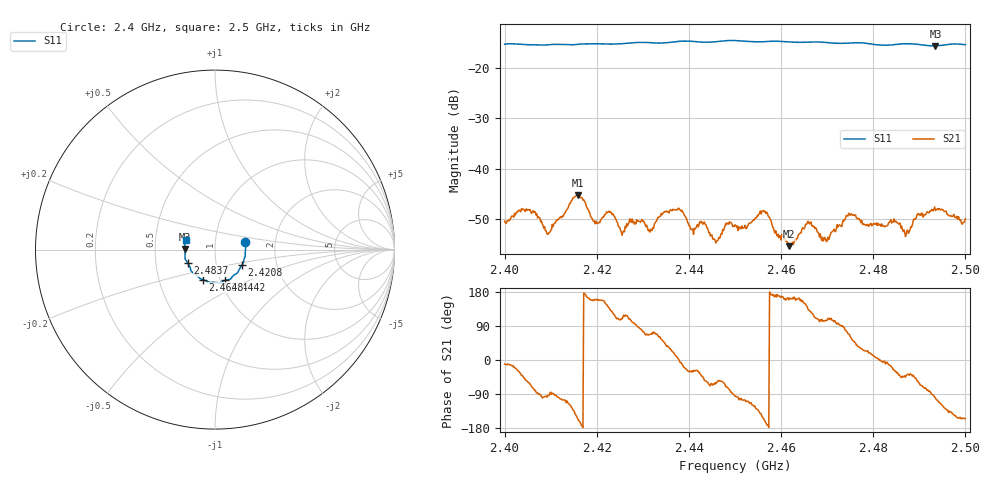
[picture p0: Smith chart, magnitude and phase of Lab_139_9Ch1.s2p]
# Hz S RI R
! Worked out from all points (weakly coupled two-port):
!   601 points, 2.4 GHz to 2.5 GHz, reference 50 ohm
!   highest |S21| = -45.27 dB at 2.416 GHz (marker M1); lowest = -55.4 dB at 2.4617 GHz (marker M2)
!   lowest |S11| = -15.6 dB at 2.4935 GHz (marker M3), VSWR 1.40, Z = 35.8 + j0.219 ohm
!   |S11| at or under -10 dB: start of sweep to end of sweep
!   S12 and S22 are empty: the file has one direction only
!   S11 on the Smith chart (normalised r, x): 2.4 GHz: 1.40, +0.12; 2.4208 GHz: 1.33, -0.24; 2.4442 GHz: 1.05, -0.37; 2.4648 GHz: 0.83, -0.29; 2.4837 GHz: 0.73, -0.11; 2.5 GHz: 0.72, +0.08
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2.4e9  0.1675 0.041  0.00296 -0.000558  0 0  0 0
2.405167e9  0.1704 0.00756  0.00196 -0.0034  0 0  0 0
2.409667e9  0.1688 -0.0258  -0.000144 -0.00232  0 0  0 0
2.416e9  0.16 -0.0634  -0.00503 -0.00211  0 0  0 0
2.416667e9  0.1591 -0.0681  -0.00509 -0.000678  0 0  0 0
2.420833e9  0.1503 -0.0871  -0.00284 0.00115  0 0  0 0
2.4255e9  0.1346 -0.1113  -0.000693 0.00206  0 0  0 0
2.433333e9  0.108 -0.1402  0.00148 0.00293  0 0  0 0
2.438e9  0.0881 -0.1621  0.00389 -0.000296  0 0  0 0
2.444167e9  0.0566 -0.1713  0.00123 -0.00214  0 0  0 0
2.45e9  0.0246 -0.186  -0.000286 -0.00275  0 0  0 0
2.4565e9  -0.0168 -0.1822  -0.00357 -0.00118  0 0  0 0
2.461667e9  -0.0449 -0.1761  -0.00158 0.000615  0 0  0 0
2.464833e9  -0.0684 -0.1668  -0.00226 0.0012  0 0  0 0
2.466667e9  -0.08 -0.1627  -0.00149 0.00225  0 0  0 0
2.469667e9  -0.0918 -0.1545  -0.000504 0.00192  0 0  0 0
2.474667e9  -0.12 -0.1303  0.00131 0.00336  0 0  0 0
2.483333e9  -0.1507 -0.0762  0.00283 -0.000628  0 0  0 0
2.483667e9  -0.1524 -0.0733  0.00293 -0.000764  0 0  0 0
2.487333e9  -0.1669 -0.051  0.00189 -0.00154  0 0  0 0
2.4935e9  -0.1661 0.00297  -0.000673 -0.00377  0 0  0 0
2.5e9  -0.1622 0.0528  -0.00287 -0.00135  0 0  0 0
